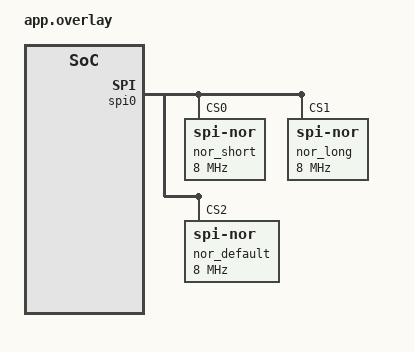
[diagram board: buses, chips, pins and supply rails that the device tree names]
/*
 * SPDX-FileCopyrightText: Copyright The Zephyr Project Contributors
 * SPDX-License-Identifier: Apache-2.0
 */

&spi0 {
	nor_short: flash@0 {
		compatible = "jedec,spi-nor";
		reg = <0>;
		spi-max-frequency = <8000000>;
		jedec-id = [ef 40 15];
		size = <DT_SIZE_M(16)>;
		wait-ready-timeout-ms = <200>;
	};

	nor_long: flash@1 {
		compatible = "jedec,spi-nor";
		reg = <1>;
		spi-max-frequency = <8000000>;
		jedec-id = [ef 40 15];
		size = <DT_SIZE_M(16)>;
		wait-ready-timeout-ms = <400>;
	};

	nor_default: flash@2 {
		compatible = "jedec,spi-nor";
		reg = <2>;
		spi-max-frequency = <8000000>;
		jedec-id = [ef 40 15];
		size = <DT_SIZE_M(16)>;
	};
};
